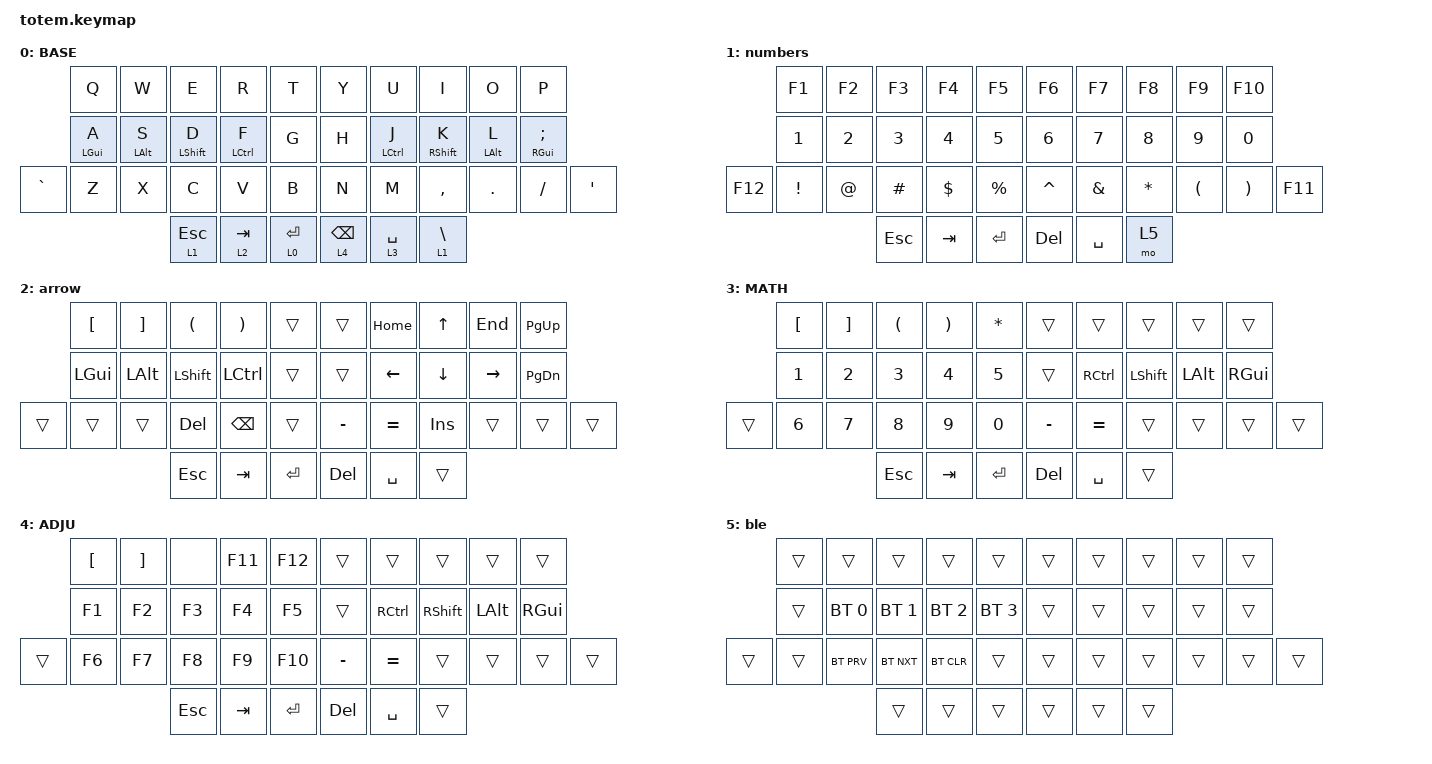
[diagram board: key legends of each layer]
//
//                                                        ▀▀▀▀▀     ▀▀▀▀▀          ▀▀█▀▀
//                                                        ▄▀▀▀▄  ▄  ▄▀▀▀▄  ▄  ▄▀▀▀▄  █  ▄▀▀▀▄
//                                                        █   █  █  █   █  █  █   █  █  █   █
//                                                         ▀▀▀   █   ▀▀▀   █   ▀▀▀   ▀   ▀▀▀
//                                                               █      ▄▄▄█▄▄▄    █   █  
//                                                               ▀      █  █  █     █▄█
//                                                             ▀▀▀▀▀    █  █  █      ▀
//                                                                      ▀  ▀  ▀
//
// ▄▄▄▄▄▄▄▄▄▄▄▄▄▄▄▄▄▄▄▄▄▄▄▄▄▄▄▄▄▄▄▄▄▄▄▄▄▄▄▄▄▄▄▄▄▄▄▄▄▄▄▄▄▄▄▄▄▄▄▄▄▄▄▄▄▄▄▄▄▄▄▄▄▄▄▄▄▄▄▄▄▄▄▄▄▄▄▄▄▄▄▄▄▄▄▄▄▄▄▄▄▄▄▄▄▄▄▄▄▄▄▄▄▄▄▄▄▄▄▄▄▄▄▄▄▄▄▄▄▄▄▄▄▄▄▄▄▄▄▄▄▄▄▄▄▄▄▄▄

#define BASE 0
#define MATH 1
#define SYMB 2
#define ADJU  3

#include <behaviors.dtsi>
#include <dt-bindings/zmk/bt.h>
#include <dt-bindings/zmk/keys.h>

/ {
    combos {
        compatible = "zmk,combos";

        combo_esc {
            timeout-ms = <50>;
            key-positions = <0 1>;
            bindings = <&kp ESC>;
        };
    };

    behaviors {
        ss_hs_modmorph: ss_hs_modmorph {
            compatible = "zmk,behavior-mod-morph";
            label = "SS_HS_MODMORPH";
            bindings = <&kp M>, <&kp RIGHT_BRACKET>;

            #binding-cells = <0>;
            mods = <(MOD_LSFT|MOD_RSFT)>;
        };

        kh_hs_tapdance: kh_hs_tapdance {
            compatible = "zmk,behavior-tap-dance";
            label = "KH_HS_TAPDANCE";
            #binding-cells = <0>;
            tapping-term-ms = <200>;
            bindings = <&kp LEFT_BRACKET>, <&kp RIGHT_BRACKET>;
        };

        hrm: hrm {
            compatible = "zmk,behavior-hold-tap";
            #binding-cells = <2>;
            flavor = "balanced";
            tapping-term-ms = <200>;
            quick-tap-ms = <155>;
            require-prior-idle-ms = <125>;
            bindings = <&kp>, <&kp>;
        };
    };

    keymap {
        compatible = "zmk,keymap";

        base {
            label = "BASE";
            bindings = <
           &kp Q        &kp W        &kp E         &kp R         &kp T          &kp Y            &kp U         &kp I            &kp O        &kp P
           &hrm LGUI A  &hrm LALT S  &hrm LSHFT D  &hrm LCTRL F  &kp G          &kp H            &hrm LCTRL J  &hrm RSHIFT K    &hrm LALT L  &hrm RGUI SEMICOLON
&kp GRAVE  &kp Z        &kp X        &kp C         &kp V         &kp B          &kp N            &kp M         &kp COMMA        &kp DOT      &kp FSLH             &kp SQT
                                     &lt 1 ESCAPE  &lt 2 TAB     &lt 0 ENTER    &lt 4 BACKSPACE  &lt 3 SPACE   &lt 1 BACKSLASH
            >;
        };

        numbers {
            bindings = <
         &kp F1    &kp F2       &kp F3    &kp F4      &kp F5         &kp F6     &kp F7         &kp F8        &kp F9                &kp F10
         &kp N1    &kp N2       &kp N3    &kp N4      &kp N5         &kp N6     &kp N7         &kp N8        &kp N9                &kp N0
&kp F12  &kp EXCL  &kp AT_SIGN  &kp HASH  &kp DOLLAR  &kp PERCENT    &kp CARET  &kp AMPERSAND  &kp ASTERISK  &kp LEFT_PARENTHESIS  &kp RIGHT_PARENTHESIS  &kp F11
                                &kp ESC   &kp TAB     &kp RET        &kp DEL    &kp SPACE      &mo 5
            >;
        };

        arrow {
            bindings = <
        &kp LEFT_BRACKET  &kp RIGHT_BRACKET  &kp LEFT_PARENTHESIS  &kp RIGHT_PARENTHESIS  &trans     &trans      &kp HOME   &kp UP_ARROW  &kp END    &kp PG_UP
        &kp LGUI          &kp LALT           &kp LSHFT             &kp LCTRL              &trans     &trans      &kp LEFT   &kp DOWN      &kp RIGHT  &kp PAGE_DOWN
&trans  &trans            &trans             &kp DELETE            &kp BSPC               &trans     &kp MINUS   &kp EQUAL  &kp INSERT    &trans     &trans         &trans
                                             &kp ESC               &kp TAB                &kp RET    &kp DELETE  &kp SPACE  &trans
            >;
        };

        math {
            label = "MATH";
            bindings = <
        &kp LBKT  &kp RBKT  &kp LEFT_PARENTHESIS  &kp RIGHT_PARENTHESIS  &kp ASTERISK    &trans     &trans     &trans          &trans    &trans
        &kp N1    &kp N2    &kp N3                &kp N4                 &kp N5          &trans     &kp RCTRL  &kp LEFT_SHIFT  &kp LALT  &kp RIGHT_GUI
&trans  &kp N6    &kp N7    &kp N8                &kp N9                 &kp N0          &kp MINUS  &kp EQUAL  &trans          &trans    &trans         &trans
                            &kp ESC               &kp TAB                &kp ENTER       &kp DEL    &kp SPACE  &trans
            >;
        };

        func {
            label = "ADJU";
            bindings = <
        &kp LBKT  &kp RBKT  &none    &kp F11  &kp F12    &trans     &trans     &trans           &trans        &trans
        &kp F1    &kp F2    &kp F3   &kp F4   &kp F5     &trans     &kp RCTRL  &kp RIGHT_SHIFT  &kp LEFT_ALT  &kp RGUI
&trans  &kp F6    &kp F7    &kp F8   &kp F9   &kp F10    &kp MINUS  &kp EQUAL  &trans           &trans        &trans    &trans
                            &kp ESC  &kp TAB  &kp RET    &kp DEL    &kp SPACE  &trans
            >;
        };

        ble {
            bindings = <
        &trans  &trans        &trans        &trans        &trans          &trans  &trans  &trans  &trans  &trans
        &trans  &bt BT_SEL 0  &bt BT_SEL 1  &bt BT_SEL 2  &bt BT_SEL 3    &trans  &trans  &trans  &trans  &trans
&trans  &trans  &bt BT_PRV    &bt BT_NXT    &bt BT_CLR    &trans          &trans  &trans  &trans  &trans  &trans  &trans
                              &trans        &trans        &trans          &trans  &trans  &trans
            >;
        };
    };
};
